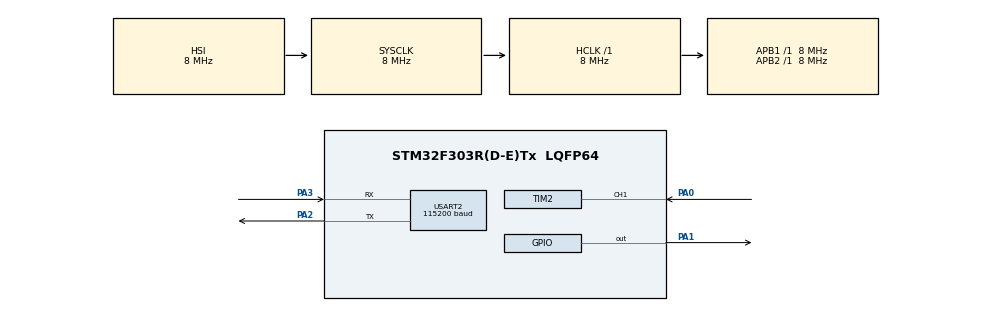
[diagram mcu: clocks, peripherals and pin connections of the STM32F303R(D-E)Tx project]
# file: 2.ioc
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Mcu.Family=STM32F3
Mcu.Name=STM32F303R(D-E)Tx
Mcu.Package=LQFP64
NVIC.PriorityGroup=NVIC_PRIORITYGROUP_4
NVIC.TIM2_IRQn=true\:1\:0\:true\:false\:true\:true
PA0.Signal=S_TIM2_CH1_ETR
PA1.Signal=GPIO_Output
PA2.Mode=Asynchronous
PA2.Signal=USART2_TX
PA3.Mode=Asynchronous
PA3.Signal=USART2_RX
ProjectManager.HeapSize=0x200
ProjectManager.StackSize=0x400
ProjectManager.TargetToolchain=TrueSTUDIO
RCC.AHBFreq_Value=8000000
RCC.APB1Freq_Value=8000000
RCC.APB2Freq_Value=8000000
RCC.CortexFreq_Value=8000000
RCC.HSE_VALUE=8000000
RCC.HSI_VALUE=8000000
RCC.LSE_VALUE=32768
RCC.SYSCLKFreq_VALUE=8000000
RCC.USBFreq_Value=16000000
SH.S_TIM2_CH1_ETR.0=TIM2_CH1,Input_Capture1_from_TI1
TIM2.Channel-Input_Capture1_from_TI1=TIM_CHANNEL_1
TIM2.ICPolarity_CH1=TIM_INPUTCHANNELPOLARITY_BOTHEDGE
TIM2.Period=0xffffffff
TIM2.Prescaler=7
USART2.BaudRate=115200
USART2.VirtualMode-Asynchronous=VM_ASYNC
USART2.WordLength=WORDLENGTH_8B
VP_TIM2_VS_ClockSourceINT.Mode=Internal
board=2

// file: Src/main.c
/**
  ******************************************************************************
  * @file           : main.c
  * @brief          : Main program body
  ******************************************************************************
  ** This notice applies to any and all portions of this file
  * that are not between comment pairs USER CODE BEGIN and
  * USER CODE END. Other portions of this file, whether
  * inserted by the user or by software development tools
  * are owned by their respective copyright owners.
  *
  * COPYRIGHT(c) 2018 STMicroelectronics
  *
  * Redistribution and use in source and binary forms, with or without modification,
  * are permitted provided that the following conditions are met:
  *   1. Redistributions of source code must retain the above copyright notice,
  *      this list of conditions and the following disclaimer.
  *   2. Redistributions in binary form must reproduce the above copyright notice,
  *      this list of conditions and the following disclaimer in the documentation
  *      and/or other materials provided with the distribution.
  *   3. Neither the name of STMicroelectronics nor the names of its contributors
  *      may be used to endorse or promote products derived from this software
  *      without specific prior written permission.
  *
  * THIS SOFTWARE IS PROVIDED BY THE COPYRIGHT HOLDERS AND CONTRIBUTORS "AS IS"
  * AND ANY EXPRESS OR IMPLIED WARRANTIES, INCLUDING, BUT NOT LIMITED TO, THE
  * IMPLIED WARRANTIES OF MERCHANTABILITY AND FITNESS FOR A PARTICULAR PURPOSE ARE
  * DISCLAIMED. IN NO EVENT SHALL THE COPYRIGHT HOLDER OR CONTRIBUTORS BE LIABLE
  * FOR ANY DIRECT, INDIRECT, INCIDENTAL, SPECIAL, EXEMPLARY, OR CONSEQUENTIAL
  * DAMAGES (INCLUDING, BUT NOT LIMITED TO, PROCUREMENT OF SUBSTITUTE GOODS OR
  * SERVICES; LOSS OF USE, DATA, OR PROFITS; OR BUSINESS INTERRUPTION) HOWEVER
  * CAUSED AND ON ANY THEORY OF LIABILITY, WHETHER IN CONTRACT, STRICT LIABILITY,
  * OR TORT (INCLUDING NEGLIGENCE OR OTHERWISE) ARISING IN ANY WAY OUT OF THE USE
  * OF THIS SOFTWARE, EVEN IF ADVISED OF THE POSSIBILITY OF SUCH DAMAGE.
  *
  ******************************************************************************
  */
#include "main.h"
#include "stm32f3xx_hal.h"

TIM_HandleTypeDef htim2;

UART_HandleTypeDef huart2;

/* USER CODE BEGIN PV */
/* Private variables ---------------------------------------------------------*/

/* USER CODE END PV */

void SystemClock_Config(void);
static void MX_GPIO_Init(void);
static void MX_TIM2_Init(void);
static void MX_USART2_UART_Init(void);

/* USER CODE BEGIN PFP */
/* Private function prototypes -----------------------------------------------*/

/* USER CODE END PFP */

/* USER CODE BEGIN 0 */
uint32_t t1=0,t2=0,tmp=0;
void HAL_TIM_IC_CaptureCallback(TIM_HandleTypeDef* htim){
	if(htim->Instance==TIM2){
		if(HAL_GPIO_ReadPin(GPIOA,GPIO_PIN_0)==1){
			__HAL_TIM_SET_COUNTER(&htim2,0);
		}else{
			int cnt=__HAL_TIM_GET_COUNTER(&htim2);
      distance=cnt/(double)58;
			int integer=(int)distance;
			int point=(int)((distance-integer)*100);
			char tosend[20]={0};
			sprintf(tosend,"%d.%02d\r\n",integer,point);
			HAL_UART_Transmit(&huart2,tosend,sizeof(tosend),0xffff);
			HAL_Delay(60);
			HAL_GPIO_WritePin(GPIOA,GPIO_PIN_1,1);
			HAL_Delay(1);
			HAL_GPIO_WritePin(GPIOA,GPIO_PIN_1,0);
		}
	}
}
/* USER CODE END 0 */

int main(void)
{

  /* MCU Configuration----------------------------------------------------------*/

  /* Reset of all peripherals, Initializes the Flash interface and the Systick. */
  HAL_Init();

  /* Configure the system clock */
  SystemClock_Config();

  /* Initialize all configured peripherals */
  MX_GPIO_Init();
  MX_TIM2_Init();
  MX_USART2_UART_Init();
  /* USER CODE BEGIN 2 */
  HAL_TIM_IC_Start_IT(&htim2,TIM_CHANNEL_1);
  HAL_GPIO_WritePin(GPIOA,GPIO_PIN_1,1);
  HAL_Delay(1);
  HAL_GPIO_WritePin(GPIOA,GPIO_PIN_1,0);
  /* USER CODE END 2 */

  /* Infinite loop */
  while (1)
  {

  }

}

void SystemClock_Config(void)
{

  RCC_OscInitTypeDef RCC_OscInitStruct;
  RCC_ClkInitTypeDef RCC_ClkInitStruct;
  RCC_PeriphCLKInitTypeDef PeriphClkInit;

    /**Initializes the CPU, AHB and APB busses clocks
    */
  RCC_OscInitStruct.OscillatorType = RCC_OSCILLATORTYPE_HSI;
  RCC_OscInitStruct.HSIState = RCC_HSI_ON;
  RCC_OscInitStruct.HSICalibrationValue = 16;
  RCC_OscInitStruct.PLL.PLLState = RCC_PLL_NONE;
  if (HAL_RCC_OscConfig(&RCC_OscInitStruct) != HAL_OK)
  {
    _Error_Handler(__FILE__, __LINE__);
  }

    /**Initializes the CPU, AHB and APB busses clocks
    */
  RCC_ClkInitStruct.ClockType = RCC_CLOCKTYPE_HCLK|RCC_CLOCKTYPE_SYSCLK
                              |RCC_CLOCKTYPE_PCLK1|RCC_CLOCKTYPE_PCLK2;
  RCC_ClkInitStruct.SYSCLKSource = RCC_SYSCLKSOURCE_HSI;
  RCC_ClkInitStruct.AHBCLKDivider = RCC_SYSCLK_DIV1;
  RCC_ClkInitStruct.APB1CLKDivider = RCC_HCLK_DIV1;
  RCC_ClkInitStruct.APB2CLKDivider = RCC_HCLK_DIV1;

  if (HAL_RCC_ClockConfig(&RCC_ClkInitStruct, FLASH_LATENCY_0) != HAL_OK)
  {
    _Error_Handler(__FILE__, __LINE__);
  }

  PeriphClkInit.PeriphClockSelection = RCC_PERIPHCLK_USART2|RCC_PERIPHCLK_TIM2;
  PeriphClkInit.Usart2ClockSelection = RCC_USART2CLKSOURCE_PCLK1;
  PeriphClkInit.Tim2ClockSelection = RCC_TIM2CLK_HCLK;
  if (HAL_RCCEx_PeriphCLKConfig(&PeriphClkInit) != HAL_OK)
  {
    _Error_Handler(__FILE__, __LINE__);
  }

    /**Configure the Systick interrupt time
    */
  HAL_SYSTICK_Config(HAL_RCC_GetHCLKFreq()/1000);

    /**Configure the Systick
    */
  HAL_SYSTICK_CLKSourceConfig(SYSTICK_CLKSOURCE_HCLK);

  /* SysTick_IRQn interrupt configuration */
  HAL_NVIC_SetPriority(SysTick_IRQn, 0, 0);
}

/* TIM2 init function */
static void MX_TIM2_Init(void)
{

  TIM_MasterConfigTypeDef sMasterConfig;
  TIM_IC_InitTypeDef sConfigIC;

  htim2.Instance = TIM2;
  htim2.Init.Prescaler = 7;
  htim2.Init.CounterMode = TIM_COUNTERMODE_UP;
  htim2.Init.Period = 0xffffffff;
  htim2.Init.ClockDivision = TIM_CLOCKDIVISION_DIV1;
  htim2.Init.AutoReloadPreload = TIM_AUTORELOAD_PRELOAD_DISABLE;
  if (HAL_TIM_IC_Init(&htim2) != HAL_OK)
  {
    _Error_Handler(__FILE__, __LINE__);
  }

  sMasterConfig.MasterOutputTrigger = TIM_TRGO_RESET;
  sMasterConfig.MasterSlaveMode = TIM_MASTERSLAVEMODE_DISABLE;
  if (HAL_TIMEx_MasterConfigSynchronization(&htim2, &sMasterConfig) != HAL_OK)
  {
    _Error_Handler(__FILE__, __LINE__);
  }

  sConfigIC.ICPolarity = TIM_INPUTCHANNELPOLARITY_BOTHEDGE;
  sConfigIC.ICSelection = TIM_ICSELECTION_DIRECTTI;
  sConfigIC.ICPrescaler = TIM_ICPSC_DIV1;
  sConfigIC.ICFilter = 0;
  if (HAL_TIM_IC_ConfigChannel(&htim2, &sConfigIC, TIM_CHANNEL_1) != HAL_OK)
  {
    _Error_Handler(__FILE__, __LINE__);
  }

}

/* USART2 init function */
static void MX_USART2_UART_Init(void)
{

  huart2.Instance = USART2;
  huart2.Init.BaudRate = 115200;
  huart2.Init.WordLength = UART_WORDLENGTH_8B;
  huart2.Init.StopBits = UART_STOPBITS_1;
  huart2.Init.Parity = UART_PARITY_NONE;
  huart2.Init.Mode = UART_MODE_TX_RX;
  huart2.Init.HwFlowCtl = UART_HWCONTROL_NONE;
  huart2.Init.OverSampling = UART_OVERSAMPLING_16;
  huart2.Init.OneBitSampling = UART_ONE_BIT_SAMPLE_DISABLE;
  huart2.AdvancedInit.AdvFeatureInit = UART_ADVFEATURE_NO_INIT;
  if (HAL_UART_Init(&huart2) != HAL_OK)
  {
    _Error_Handler(__FILE__, __LINE__);
  }

}

/** Configure pins as
        * Analog
        * Input
        * Output
        * EVENT_OUT
        * EXTI
*/
static void MX_GPIO_Init(void)
{

  GPIO_InitTypeDef GPIO_InitStruct;

  /* GPIO Ports Clock Enable */
  __HAL_RCC_GPIOA_CLK_ENABLE();

  /*Configure GPIO pin Output Level */
  HAL_GPIO_WritePin(GPIOA, GPIO_PIN_1, GPIO_PIN_RESET);

  /*Configure GPIO pin : PA1 */
  GPIO_InitStruct.Pin = GPIO_PIN_1;
  GPIO_InitStruct.Mode = GPIO_MODE_OUTPUT_PP;
  GPIO_InitStruct.Pull = GPIO_NOPULL;
  GPIO_InitStruct.Speed = GPIO_SPEED_FREQ_LOW;
  HAL_GPIO_Init(GPIOA, &GPIO_InitStruct);

}

void _Error_Handler(char *file, int line)
{
  while(1)
  {
  }
}

/************************ (C) COPYRIGHT STMicroelectronics *****END OF FILE****/
